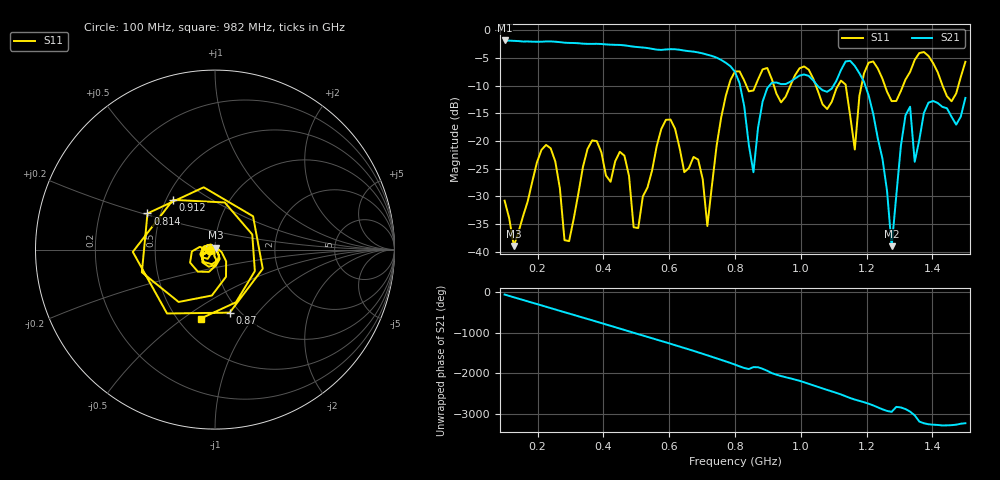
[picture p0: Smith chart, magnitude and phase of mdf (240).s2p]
! NanoVNA-App
! Date: 2025-09-25 15:40:17
! Start: 100MHz Stop: 1,5GHz Points: 101
! S-Parameter data: F S11 S21 S12 S22
# Hz S RI R 50
!  Frequency  S11_Real  S11_Imag  S21_Real  S21_Imag  S12_Real  S12_Imag  S22_Real  S22_Imag
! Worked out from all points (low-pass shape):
!   101 points, 100 MHz to 1.5 GHz, reference 50 ohm
!   highest |S21| = -1.80 dB at 100 MHz (marker M1); lowest = -39.0 dB at 1.276 GHz (marker M2)
!   |S21| within 3 dB of the highest: start of sweep to 739.2 MHz
!   lowest |S11| = -38.9 dB at 128 MHz (marker M3), VSWR 1.02, Z = 50.3 + j1.08 ohm
!   |S11| at or under -10 dB: start of sweep to 781 MHz; 918.3 MHz to 968.1 MHz (49.76 MHz wide, 5.28 % of centre); 1.046 GHz to 1.113 GHz (66.93 MHz wide, 6.2 % of centre) (the widest 3 of 7)
!   S12 and S22 are empty: the file has one direction only
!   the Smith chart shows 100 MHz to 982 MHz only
!   S11 on the Smith chart (normalised r, x): 100 MHz: 0.94, -0.01; 814 MHz: 0.42, +0.21; 870 MHz: 0.90, -0.73; 912 MHz: 0.54, +0.35; 982 MHz: 0.64, -0.59
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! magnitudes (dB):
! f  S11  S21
! 100 MHz  -30.8  -1.8
! 128 MHz  -38.9  -1.9
! 212 MHz  -21.6  -2.0
! 282 MHz  -37.9  -2.2
! 338 MHz  -24.7  -2.4
! 464 MHz  -22.6  -2.7
! 506 MHz  -35.7  -3.0
! 576 MHz  -17.8  -3.5
! 716 MHz  -35.3  -4.4
! 800 MHz  -7.4  -7.5
! 814 MHz  -7.4  -9.6
! 856 MHz  -10.8  -25.6
! 870 MHz  -8.9  -17.6
! 912 MHz  -8.8  -9.5
! 982 MHz  -8.1  -8.7
! 1.038 GHz  -8.7  -9.0
! 1.136 GHz  -9.8  -5.6
! 1.164 GHz  -21.5  -6.4
! 1.192 GHz  -7.7  -9.3
! 1.276 GHz  -12.8  -39.0
! 1.318 GHz  -8.9  -15.3
! 1.5 GHz  -5.7  -12.2
